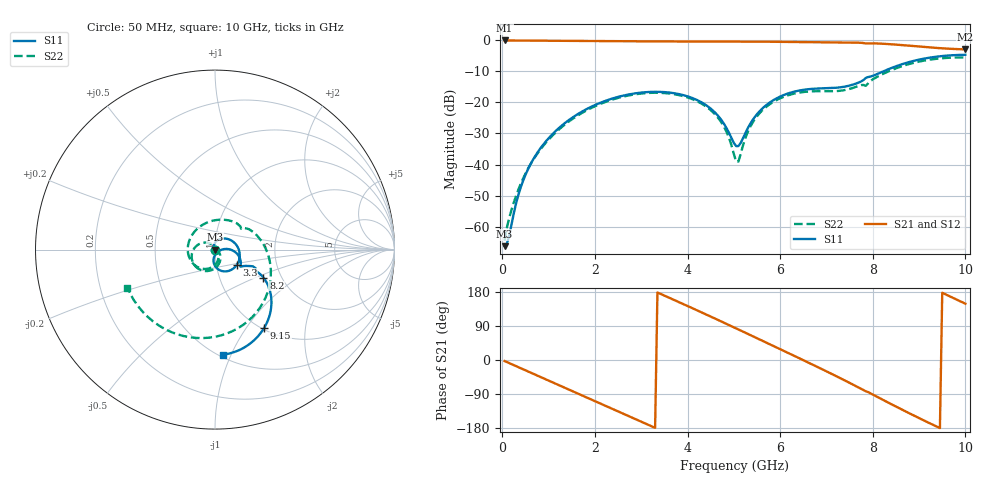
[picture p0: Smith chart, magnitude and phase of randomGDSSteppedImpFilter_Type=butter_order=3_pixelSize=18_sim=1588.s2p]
! freq	dB(S11)	phase(S11)	dB(S12)	phase(S12)
!  dB(S21)	phase(S21)	dB(S22)	phase(S22)
!S-par simulation data
#  GHz  S  DB  R 50
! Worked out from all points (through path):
!   200 points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, 50 MHz to 10 GHz, reference 50 ohm
!   highest |S21| = -0.01 dB at 50 MHz (marker M1); lowest = -2.9 dB at 10 GHz (marker M2)
!   group delay of S21, straight-line fit = 159 ps
!   lowest |S11| = -66.3 dB at 50 MHz (marker M3), VSWR 1.00, Z = 50 + j0.0298 ohm
!   |S11| at or under -10 dB: start of sweep to 8.222 GHz
!   |S22| runs from -64.5 to -5.5 dB; largest |S21 - S12| = 0
!   S11 on the Smith chart (normalised r, x): 50 MHz: 1.00, +0.00; 3.3 GHz: 1.26, -0.22; 8.2 GHz: 1.62, -0.56; 9.15 GHz: 1.02, -1.22; 10 GHz: 0.52, -0.93
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0.05  -66.32 38.0  -0.01 -2.8  -0.01 -2.8  -64.52 30.5
0.15  -62.96 84.0  -0.02 -8.2  -0.02 -8.2  -57.19 25.6
0.3  -52.37 122.4  -0.03 -16.3  -0.03 -16.3  -49.99 11.2
0.65  -38.80 120.6  -0.05 -35.2  -0.05 -35.2  -38.90 -13.0
1.2  -28.54 90.6  -0.08 -65.0  -0.08 -65.0  -29.01 -40.9
1.75  -22.70 56.6  -0.13 -94.8  -0.13 -94.8  -23.12 -66.2
2.6  -17.83 5.0  -0.24 -141.0  -0.24 -141.0  -18.15 -106.4
3.3  -16.56 -35.1  -0.32 -179.1  -0.32 -179.1  -16.87 -141.6
3.4  -16.58 -40.6  -0.32 175.5  -0.32 175.5  -16.89 -146.9
3.9  -17.60 -67.1  -0.34 148.1  -0.34 148.1  -17.94 -173.9
4.5  -21.98 -93.8  -0.33 114.6  -0.33 114.6  -22.47 149.4
4.8  -27.20 -97.3  -0.33 97.7  -0.33 97.7  -28.17 124.2
5.05  -34.06 -57.3  -0.34 83.4  -0.34 83.4  -39.10 52.6
5.35  -26.98 2.3  -0.36 66.2  -0.36 66.2  -27.94 -58.9
5.65  -21.48 0.5  -0.40 48.9  -0.40 48.9  -22.05 -86.2
6.2  -16.94 -17.1  -0.49 17.0  -0.49 17.0  -17.54 -128.9
6.7  -15.60 -30.4  -0.55 -12.1  -0.55 -12.1  -16.40 -172.8
7.55  -14.34 -28.3  -0.67 -63.5  -0.67 -63.5  -15.42 79.6
8.2  -10.14 -30.0  -1.05 -103.9  -1.05 -103.9  -10.94 0.5
8.35  -9.20 -33.0  -1.19 -113.4  -1.19 -113.4  -9.91 -15.2
9.15  -5.74 -58.1  -2.15 -162.2  -2.15 -162.2  -6.39 -86.0
10  -4.63 -85.7  -2.88 148.5  -2.88 148.5  -5.48 -156.6
